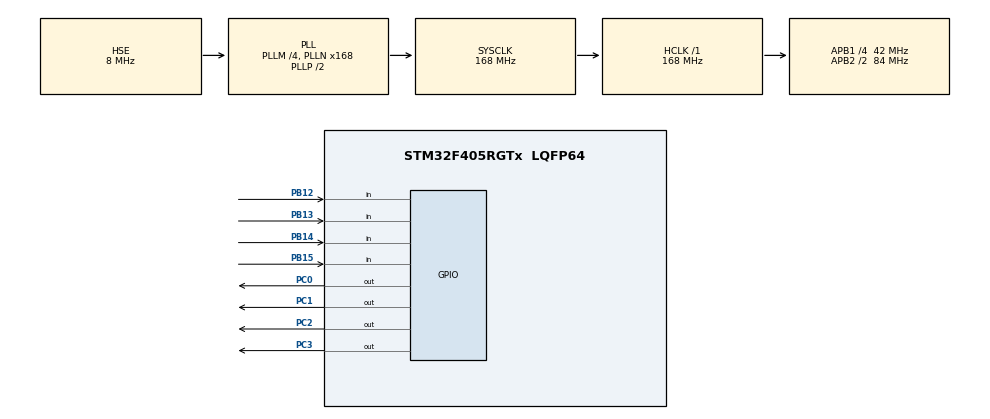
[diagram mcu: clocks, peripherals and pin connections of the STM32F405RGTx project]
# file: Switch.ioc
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Mcu.Family=STM32F4
Mcu.Name=STM32F405RGTx
Mcu.Package=LQFP64
NVIC.PriorityGroup=NVIC_PRIORITYGROUP_4
PA13.Mode=Serial_Wire
PA13.Signal=SYS_JTMS-SWDIO
PA14.Mode=Serial_Wire
PA14.Signal=SYS_JTCK-SWCLK
PB12.Signal=GPIO_Input
PB13.Signal=GPIO_Input
PB14.Signal=GPIO_Input
PB15.Signal=GPIO_Input
PC0.Signal=GPIO_Output
PC1.Signal=GPIO_Output
PC2.Signal=GPIO_Output
PC3.Signal=GPIO_Output
PH0-OSC_IN.Mode=HSE-External-Oscillator
PH0-OSC_IN.Signal=RCC_OSC_IN
PH1-OSC_OUT.Mode=HSE-External-Oscillator
PH1-OSC_OUT.Signal=RCC_OSC_OUT
ProjectManager.HeapSize=0x200
ProjectManager.StackSize=0x400
ProjectManager.TargetToolchain=EWARM V8.32
RCC.48MHZClocksFreq_Value=84000000
RCC.AHBFreq_Value=168000000
RCC.APB1CLKDivider=RCC_HCLK_DIV4
RCC.APB1Freq_Value=42000000
RCC.APB1TimFreq_Value=84000000
RCC.APB2CLKDivider=RCC_HCLK_DIV2
RCC.APB2Freq_Value=84000000
RCC.APB2TimFreq_Value=168000000
RCC.CortexFreq_Value=168000000
RCC.HCLKFreq_Value=168000000
RCC.HSE_VALUE=8000000
RCC.HSI_VALUE=16000000
RCC.LSE_VALUE=32768
RCC.PLLM=4
RCC.PLLN=168
RCC.PLLSourceVirtual=RCC_PLLSOURCE_HSE
RCC.SYSCLKFreq_VALUE=168000000
RCC.SYSCLKSource=RCC_SYSCLKSOURCE_PLLCLK
RCC.VCOOutputFreq_Value=336000000
board=custom

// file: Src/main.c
/* USER CODE BEGIN Header */
/**
  ******************************************************************************
  * @file           : main.c
  * @brief          : Main program body
  ******************************************************************************
  * @attention
  *
  * <h2><center>&copy; Copyright (c) 2020 STMicroelectronics.
  * All rights reserved.</center></h2>
  *
  * This software component is licensed by ST under BSD 3-Clause license,
  * the "License"; You may not use this file except in compliance with the
  * License. You may obtain a copy of the License at:
  *                        opensource.org/licenses/BSD-3-Clause
  *
  ******************************************************************************
  */
/* USER CODE END Header */

#include "main.h"
#include "gpio.h"

void SystemClock_Config(void);

int main(void)
{
  /* USER CODE BEGIN 1 */
  int ledPin[] = {GPIO_PIN_0, GPIO_PIN_1, GPIO_PIN_2, GPIO_PIN_3};
  int checkButton[] = {0, 0, 0, 0};
  /* USER CODE END 1 */

  /* MCU Configuration--------------------------------------------------------*/

  /* Reset of all peripherals, Initializes the Flash interface and the Systick. */
  HAL_Init();

  /* Configure the system clock */
  SystemClock_Config();

  /* Initialize all configured peripherals */
  MX_GPIO_Init();

  /* Infinite loop */
  /* USER CODE BEGIN WHILE */
  while (1)
  {
    if(HAL_GPIO_ReadPin(GPIOB, GPIO_PIN_12))
    {
      if(checkButton[0] == 0)
      {
        checkButton[0] = 1;
        HAL_GPIO_WritePin(GPIOC, ledPin[0], GPIO_PIN_SET);
      }
      else
      {
        checkButton[0] = 0;
        HAL_GPIO_WritePin(GPIOC, ledPin[0], GPIO_PIN_RESET);
      }
    }
    else if(HAL_GPIO_ReadPin(GPIOB, GPIO_PIN_13))
    {
      if(checkButton[1] == 0)
      {
        checkButton[1] = 1;
        HAL_GPIO_WritePin(GPIOC, ledPin[1], GPIO_PIN_SET);
      }
      else
      {
        checkButton[1] = 0;
        HAL_GPIO_WritePin(GPIOC, ledPin[1], GPIO_PIN_RESET);
      }
    }
    else if(HAL_GPIO_ReadPin(GPIOB, GPIO_PIN_14))
    {
      if(checkButton[2] == 0)
      {
        checkButton[2] = 1;
        HAL_GPIO_WritePin(GPIOC, ledPin[2], GPIO_PIN_SET);
      }
      else
      {
        checkButton[2] = 0;
        HAL_GPIO_WritePin(GPIOC, ledPin[2], GPIO_PIN_RESET);
      }
    }
    else if(HAL_GPIO_ReadPin(GPIOB, GPIO_PIN_15))
    {
      if(checkButton[3] == 0)
      {
        checkButton[3] = 1;
        HAL_GPIO_WritePin(GPIOC, ledPin[3], GPIO_PIN_SET);
      }
      else
      {
        checkButton[3] = 0;
        HAL_GPIO_WritePin(GPIOC, ledPin[3], GPIO_PIN_RESET);
      }
    }
    HAL_Delay(250);
    /* USER CODE END WHILE */

  }
}

void SystemClock_Config(void)
{
  RCC_OscInitTypeDef RCC_OscInitStruct = {0};
  RCC_ClkInitTypeDef RCC_ClkInitStruct = {0};

  /** Configure the main internal regulator output voltage
  */
  __HAL_RCC_PWR_CLK_ENABLE();
  __HAL_PWR_VOLTAGESCALING_CONFIG(PWR_REGULATOR_VOLTAGE_SCALE1);
  /** Initializes the CPU, AHB and APB busses clocks
  */
  RCC_OscInitStruct.OscillatorType = RCC_OSCILLATORTYPE_HSE;
  RCC_OscInitStruct.HSEState = RCC_HSE_ON;
  RCC_OscInitStruct.PLL.PLLState = RCC_PLL_ON;
  RCC_OscInitStruct.PLL.PLLSource = RCC_PLLSOURCE_HSE;
  RCC_OscInitStruct.PLL.PLLM = 4;
  RCC_OscInitStruct.PLL.PLLN = 168;
  RCC_OscInitStruct.PLL.PLLP = RCC_PLLP_DIV2;
  RCC_OscInitStruct.PLL.PLLQ = 4;
  if (HAL_RCC_OscConfig(&RCC_OscInitStruct) != HAL_OK)
  {
    Error_Handler();
  }
  /** Initializes the CPU, AHB and APB busses clocks
  */
  RCC_ClkInitStruct.ClockType = RCC_CLOCKTYPE_HCLK|RCC_CLOCKTYPE_SYSCLK
                              |RCC_CLOCKTYPE_PCLK1|RCC_CLOCKTYPE_PCLK2;
  RCC_ClkInitStruct.SYSCLKSource = RCC_SYSCLKSOURCE_PLLCLK;
  RCC_ClkInitStruct.AHBCLKDivider = RCC_SYSCLK_DIV1;
  RCC_ClkInitStruct.APB1CLKDivider = RCC_HCLK_DIV4;
  RCC_ClkInitStruct.APB2CLKDivider = RCC_HCLK_DIV2;

  if (HAL_RCC_ClockConfig(&RCC_ClkInitStruct, FLASH_LATENCY_5) != HAL_OK)
  {
    Error_Handler();
  }
}

void Error_Handler(void)
{
}

/************************ (C) COPYRIGHT STMicroelectronics *****END OF FILE****/
